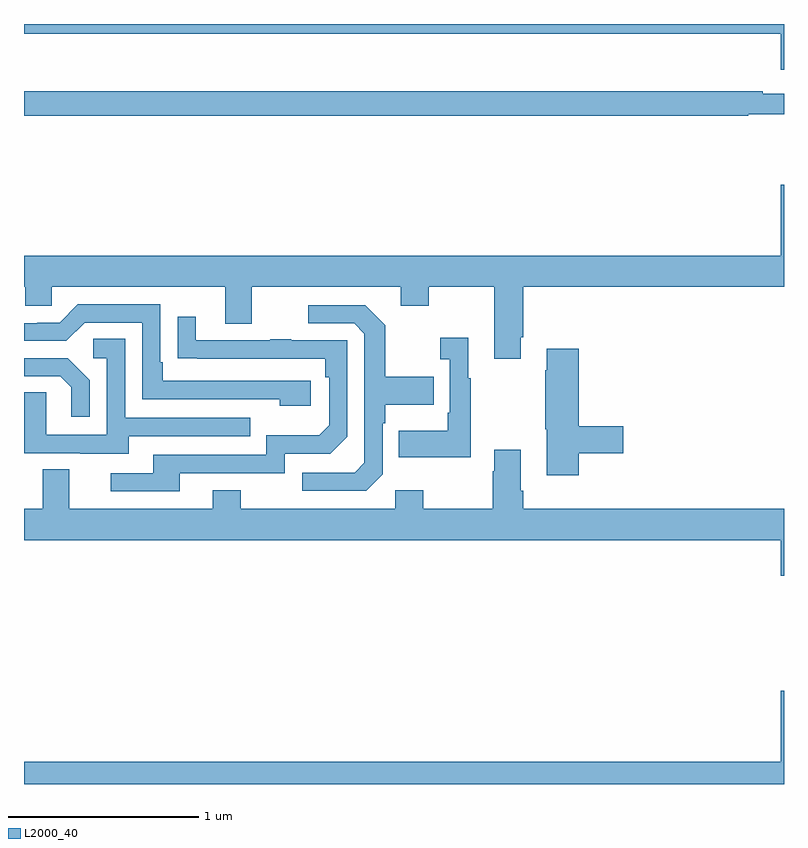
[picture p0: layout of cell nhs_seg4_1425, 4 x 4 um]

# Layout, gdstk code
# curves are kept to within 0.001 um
import gdstk
lib = gdstk.Library(unit=1e-6, precision=1e-09)
def P(c, l, *ps):  # polygons
    for p in ps: c.add(gdstk.Polygon(p, *l))
L2000_40 = (2000, 40)

nhs_seg4_1425 = lib.new_cell('nhs_seg4_1425')
P(nhs_seg4_1425, L2000_40, [(189,768.9),(185,768.9),(185,768.848),(188.984,768.848),(188.984,768.66),(189,768.66)],
  [(188.812,768.426),(189,768.426),(189,768.534),(188.888,768.534),(188.888,768.547),(185,768.547),(185,768.418),(188.812,768.418)],
  [(187.615,767.251),(187.628,767.251),(187.628,767.516),(189,767.516),(189,768.055),(188.984,768.055),(188.984,767.68),(185,767.68),(185,767.516),(185.007,767.516),(185.007,767.418),(185.145,767.418),(185.145,767.516),(186.059,767.516),(186.059,767.322),(186.199,767.322),(186.199,767.516),(186.983,767.516),(186.983,767.417),(187.131,767.417),(187.131,767.516),(187.475,767.516),(187.475,767.139),(187.615,767.139)],
  [(186.508,767.022),(185.731,767.022),(185.731,767.119),(185.718,767.119),(185.718,767.424),(185.283,767.424),(185.187,767.328),(185.069,767.328),(185.069,767.325),(185,767.325),(185,767.232),(185.223,767.232),(185.319,767.328),(185.622,767.328),(185.622,766.926),(186.347,766.926),(186.347,766.892),(186.508,766.892)],
  [(186.888,766.53),(186.888,766.799),(186.901,766.799),(186.901,766.895),(187.157,766.895),(187.157,767.043),(186.901,767.043),(186.901,767.315),(186.795,767.421),(186.495,767.421),(186.495,767.325),(186.738,767.325),(186.792,767.271),(186.792,766.59),(186.741,766.539),(186.465,766.539),(186.465,766.443),(186.801,766.443)],
  [(185.821,766.536),(186.372,766.536),(186.372,766.638),(186.612,766.638),(186.702,766.728),(186.702,767.235),(186.407,767.235),(186.407,767.24),(186.295,767.24),(186.295,767.235),(185.905,767.235),(185.905,767.359),(185.809,767.359),(185.809,767.14),(186.586,767.139),(186.586,767.042),(186.606,767.042),(186.606,766.788),(186.553,766.735),(186.276,766.735),(186.276,766.632),(185.681,766.632),(185.681,766.536),(185.457,766.536),(185.457,766.44),(185.821,766.44)],
  [(187.351,767.035),(187.339,767.035),(187.339,767.248),(187.191,767.248),(187.191,767.135),(187.242,767.135),(187.242,766.855),(187.23,766.855),(187.23,766.759),(186.973,766.759),(186.973,766.619),(187.351,766.619)],
  [(185.551,766.731),(186.191,766.731),(186.191,766.827),(185.532,766.827),(185.532,767.243),(185.364,767.243),(185.364,767.142),(185.436,767.142),(185.436,766.737),(185.118,766.737),(185.118,766.961),(185,766.961),(185,766.641),(185.297,766.641),(185.297,766.637),(185.551,766.637)],
  [(187.919,766.642),(188.155,766.642),(188.155,766.784),(187.919,766.784),(187.919,767.191),(187.751,767.191),(187.751,767.078),(187.744,767.078),(187.744,766.767),(187.751,766.767),(187.751,766.524),(187.919,766.524)],
  [(185.346,767.026),(185.23,767.142),(185,767.142),(185,767.046),(185.192,767.046),(185.249,766.989),(185.249,766.833),(185.346,766.833)],
  [(189,766.348),(187.628,766.348),(187.628,766.444),(187.615,766.444),(187.615,766.66),(187.475,766.66),(187.475,766.547),(187.468,766.547),(187.468,766.348),(187.101,766.348),(187.101,766.447),(186.954,766.447),(186.954,766.348),(186.141,766.348),(186.141,766.447),(185.993,766.447),(185.993,766.348),(185.239,766.348),(185.239,766.556),(185.099,766.556),(185.099,766.348),(185,766.348),(185,766.184),(188.984,766.184),(188.984,765.996),(189,765.996)],
  [(189,765.391),(188.984,765.391),(188.984,765.016),(185,765.016),(185,764.9),(189,764.9)])

lib.write_gds('nhs_seg4_1425.gds')
